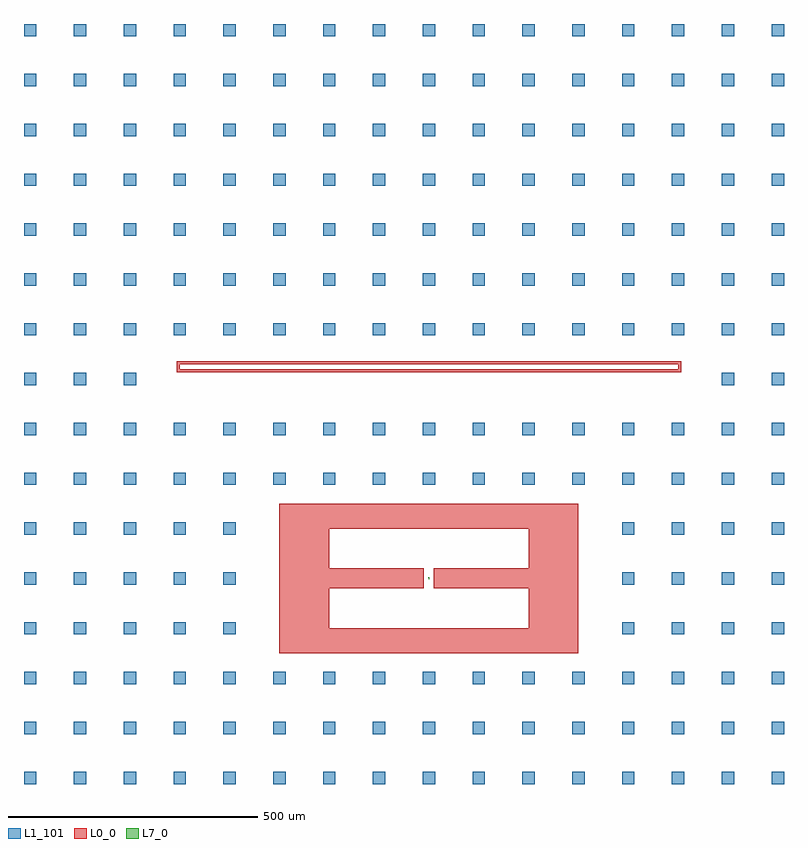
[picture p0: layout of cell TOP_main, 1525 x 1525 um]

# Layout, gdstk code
from math import pi, radians
import gdstk
lib = gdstk.Library(unit=1e-6, precision=1e-09)
def P(c, l, *ps):  # polygons
    for p in ps: c.add(gdstk.Polygon(p, *l))
L0_0 = (0, 0)
L1_101 = (1, 101)
L7_0 = (7, 0)

oq_jj = lib.new_cell('OQ_JJ')
P(oq_jj, L7_0, [(-2,-1),(2,-1),(2,1),(1,1),(1,0),(-2,0)])

all_jj_imported_1 = lib.new_cell('all_jj_imported_1')
all_jj_imported_1.add(gdstk.Reference(oq_jj, (0,-400), rotation=pi/2))

top_main_1_cheese_diff = lib.new_cell('TOP_main_1_Cheese_diff')
P(top_main_1_cheese_diff, L1_101, [(-787.5,-812.5),(-787.5,-787.5),(-812.5,-787.5),(-812.5,-812.5),(-787.5,-812.5)],
  [(-787.5,-712.5),(-787.5,-687.5),(-812.5,-687.5),(-812.5,-712.5),(-787.5,-712.5)],
  [(-787.5,-612.5),(-787.5,-587.5),(-812.5,-587.5),(-812.5,-612.5),(-787.5,-612.5)],
  [(-787.5,-512.5),(-787.5,-487.5),(-812.5,-487.5),(-812.5,-512.5),(-787.5,-512.5)],
  [(-787.5,-412.5),(-787.5,-387.5),(-812.5,-387.5),(-812.5,-412.5),(-787.5,-412.5)],
  [(-787.5,-312.5),(-787.5,-287.5),(-812.5,-287.5),(-812.5,-312.5),(-787.5,-312.5)],
  [(-787.5,-212.5),(-787.5,-187.5),(-812.5,-187.5),(-812.5,-212.5),(-787.5,-212.5)],
  [(-787.5,-112.5),(-787.5,-87.5),(-812.5,-87.5),(-812.5,-112.5),(-787.5,-112.5)],
  [(-787.5,-12.5),(-787.5,12.5),(-812.5,12.5),(-812.5,-12.5),(-787.5,-12.5)],
  [(-787.5,87.5),(-787.5,112.5),(-812.5,112.5),(-812.5,87.5),(-787.5,87.5)],
  [(-787.5,187.5),(-787.5,212.5),(-812.5,212.5),(-812.5,187.5),(-787.5,187.5)],
  [(-787.5,287.5),(-787.5,312.5),(-812.5,312.5),(-812.5,287.5),(-787.5,287.5)],
  [(-787.5,387.5),(-787.5,412.5),(-812.5,412.5),(-812.5,387.5),(-787.5,387.5)],
  [(-787.5,487.5),(-787.5,512.5),(-812.5,512.5),(-812.5,487.5),(-787.5,487.5)],
  [(-787.5,587.5),(-787.5,612.5),(-812.5,612.5),(-812.5,587.5),(-787.5,587.5)],
  [(-787.5,687.5),(-787.5,712.5),(-812.5,712.5),(-812.5,687.5),(-787.5,687.5)],
  [(-687.5,-812.5),(-687.5,-787.5),(-712.5,-787.5),(-712.5,-812.5),(-687.5,-812.5)],
  [(-687.5,-712.5),(-687.5,-687.5),(-712.5,-687.5),(-712.5,-712.5),(-687.5,-712.5)],
  [(-687.5,-612.5),(-687.5,-587.5),(-712.5,-587.5),(-712.5,-612.5),(-687.5,-612.5)],
  [(-687.5,-512.5),(-687.5,-487.5),(-712.5,-487.5),(-712.5,-512.5),(-687.5,-512.5)],
  [(-687.5,-412.5),(-687.5,-387.5),(-712.5,-387.5),(-712.5,-412.5),(-687.5,-412.5)],
  [(-687.5,-312.5),(-687.5,-287.5),(-712.5,-287.5),(-712.5,-312.5),(-687.5,-312.5)],
  [(-687.5,-212.5),(-687.5,-187.5),(-712.5,-187.5),(-712.5,-212.5),(-687.5,-212.5)],
  [(-687.5,-112.5),(-687.5,-87.5),(-712.5,-87.5),(-712.5,-112.5),(-687.5,-112.5)],
  [(-687.5,-12.5),(-687.5,12.5),(-712.5,12.5),(-712.5,-12.5),(-687.5,-12.5)],
  [(-687.5,87.5),(-687.5,112.5),(-712.5,112.5),(-712.5,87.5),(-687.5,87.5)],
  [(-687.5,187.5),(-687.5,212.5),(-712.5,212.5),(-712.5,187.5),(-687.5,187.5)],
  [(-687.5,287.5),(-687.5,312.5),(-712.5,312.5),(-712.5,287.5),(-687.5,287.5)],
  [(-687.5,387.5),(-687.5,412.5),(-712.5,412.5),(-712.5,387.5),(-687.5,387.5)],
  [(-687.5,487.5),(-687.5,512.5),(-712.5,512.5),(-712.5,487.5),(-687.5,487.5)],
  [(-687.5,587.5),(-687.5,612.5),(-712.5,612.5),(-712.5,587.5),(-687.5,587.5)],
  [(-687.5,687.5),(-687.5,712.5),(-712.5,712.5),(-712.5,687.5),(-687.5,687.5)],
  [(-587.5,-812.5),(-587.5,-787.5),(-612.5,-787.5),(-612.5,-812.5),(-587.5,-812.5)],
  [(-587.5,-712.5),(-587.5,-687.5),(-612.5,-687.5),(-612.5,-712.5),(-587.5,-712.5)],
  [(-587.5,-612.5),(-587.5,-587.5),(-612.5,-587.5),(-612.5,-612.5),(-587.5,-612.5)],
  [(-587.5,-512.5),(-587.5,-487.5),(-612.5,-487.5),(-612.5,-512.5),(-587.5,-512.5)],
  [(-587.5,-412.5),(-587.5,-387.5),(-612.5,-387.5),(-612.5,-412.5),(-587.5,-412.5)],
  [(-587.5,-312.5),(-587.5,-287.5),(-612.5,-287.5),(-612.5,-312.5),(-587.5,-312.5)],
  [(-587.5,-212.5),(-587.5,-187.5),(-612.5,-187.5),(-612.5,-212.5),(-587.5,-212.5)],
  [(-587.5,-112.5),(-587.5,-87.5),(-612.5,-87.5),(-612.5,-112.5),(-587.5,-112.5)],
  [(-587.5,-12.5),(-587.5,12.5),(-612.5,12.5),(-612.5,-12.5),(-587.5,-12.5)],
  [(-587.5,87.5),(-587.5,112.5),(-612.5,112.5),(-612.5,87.5),(-587.5,87.5)],
  [(-587.5,187.5),(-587.5,212.5),(-612.5,212.5),(-612.5,187.5),(-587.5,187.5)],
  [(-587.5,287.5),(-587.5,312.5),(-612.5,312.5),(-612.5,287.5),(-587.5,287.5)],
  [(-587.5,387.5),(-587.5,412.5),(-612.5,412.5),(-612.5,387.5),(-587.5,387.5)],
  [(-587.5,487.5),(-587.5,512.5),(-612.5,512.5),(-612.5,487.5),(-587.5,487.5)],
  [(-587.5,587.5),(-587.5,612.5),(-612.5,612.5),(-612.5,587.5),(-587.5,587.5)],
  [(-587.5,687.5),(-587.5,712.5),(-612.5,712.5),(-612.5,687.5),(-587.5,687.5)],
  [(-487.5,-812.5),(-487.5,-787.5),(-512.5,-787.5),(-512.5,-812.5),(-487.5,-812.5)],
  [(-487.5,-712.5),(-487.5,-687.5),(-512.5,-687.5),(-512.5,-712.5),(-487.5,-712.5)],
  [(-487.5,-612.5),(-487.5,-587.5),(-512.5,-587.5),(-512.5,-612.5),(-487.5,-612.5)],
  [(-487.5,-512.5),(-487.5,-487.5),(-512.5,-487.5),(-512.5,-512.5),(-487.5,-512.5)],
  [(-487.5,-412.5),(-487.5,-387.5),(-512.5,-387.5),(-512.5,-412.5),(-487.5,-412.5)],
  [(-487.5,-312.5),(-487.5,-287.5),(-512.5,-287.5),(-512.5,-312.5),(-487.5,-312.5)],
  [(-487.5,-212.5),(-487.5,-187.5),(-512.5,-187.5),(-512.5,-212.5),(-487.5,-212.5)],
  [(-487.5,-112.5),(-487.5,-87.5),(-512.5,-87.5),(-512.5,-112.5),(-487.5,-112.5)],
  [(-487.5,87.5),(-487.5,112.5),(-512.5,112.5),(-512.5,87.5),(-487.5,87.5)],
  [(-487.5,187.5),(-487.5,212.5),(-512.5,212.5),(-512.5,187.5),(-487.5,187.5)],
  [(-487.5,287.5),(-487.5,312.5),(-512.5,312.5),(-512.5,287.5),(-487.5,287.5)],
  [(-487.5,387.5),(-487.5,412.5),(-512.5,412.5),(-512.5,387.5),(-487.5,387.5)],
  [(-487.5,487.5),(-487.5,512.5),(-512.5,512.5),(-512.5,487.5),(-487.5,487.5)],
  [(-487.5,587.5),(-487.5,612.5),(-512.5,612.5),(-512.5,587.5),(-487.5,587.5)],
  [(-487.5,687.5),(-487.5,712.5),(-512.5,712.5),(-512.5,687.5),(-487.5,687.5)],
  [(-387.5,-812.5),(-387.5,-787.5),(-412.5,-787.5),(-412.5,-812.5),(-387.5,-812.5)],
  [(-387.5,-712.5),(-387.5,-687.5),(-412.5,-687.5),(-412.5,-712.5),(-387.5,-712.5)],
  [(-387.5,-612.5),(-387.5,-587.5),(-412.5,-587.5),(-412.5,-612.5),(-387.5,-612.5)],
  [(-387.5,-512.5),(-387.5,-487.5),(-412.5,-487.5),(-412.5,-512.5),(-387.5,-512.5)],
  [(-387.5,-412.5),(-387.5,-387.5),(-412.5,-387.5),(-412.5,-412.5),(-387.5,-412.5)],
  [(-387.5,-312.5),(-387.5,-287.5),(-412.5,-287.5),(-412.5,-312.5),(-387.5,-312.5)],
  [(-387.5,-212.5),(-387.5,-187.5),(-412.5,-187.5),(-412.5,-212.5),(-387.5,-212.5)],
  [(-387.5,-112.5),(-387.5,-87.5),(-412.5,-87.5),(-412.5,-112.5),(-387.5,-112.5)],
  [(-387.5,87.5),(-387.5,112.5),(-412.5,112.5),(-412.5,87.5),(-387.5,87.5)],
  [(-387.5,187.5),(-387.5,212.5),(-412.5,212.5),(-412.5,187.5),(-387.5,187.5)],
  [(-387.5,287.5),(-387.5,312.5),(-412.5,312.5),(-412.5,287.5),(-387.5,287.5)],
  [(-387.5,387.5),(-387.5,412.5),(-412.5,412.5),(-412.5,387.5),(-387.5,387.5)],
  [(-387.5,487.5),(-387.5,512.5),(-412.5,512.5),(-412.5,487.5),(-387.5,487.5)],
  [(-387.5,587.5),(-387.5,612.5),(-412.5,612.5),(-412.5,587.5),(-387.5,587.5)],
  [(-387.5,687.5),(-387.5,712.5),(-412.5,712.5),(-412.5,687.5),(-387.5,687.5)],
  [(-287.5,-812.5),(-287.5,-787.5),(-312.5,-787.5),(-312.5,-812.5),(-287.5,-812.5)],
  [(-287.5,-712.5),(-287.5,-687.5),(-312.5,-687.5),(-312.5,-712.5),(-287.5,-712.5)],
  [(-287.5,-612.5),(-287.5,-587.5),(-312.5,-587.5),(-312.5,-612.5),(-287.5,-612.5)],
  [(-287.5,-212.5),(-287.5,-187.5),(-312.5,-187.5),(-312.5,-212.5),(-287.5,-212.5)],
  [(-287.5,-112.5),(-287.5,-87.5),(-312.5,-87.5),(-312.5,-112.5),(-287.5,-112.5)],
  [(-287.5,87.5),(-287.5,112.5),(-312.5,112.5),(-312.5,87.5),(-287.5,87.5)],
  [(-287.5,187.5),(-287.5,212.5),(-312.5,212.5),(-312.5,187.5),(-287.5,187.5)],
  [(-287.5,287.5),(-287.5,312.5),(-312.5,312.5),(-312.5,287.5),(-287.5,287.5)],
  [(-287.5,387.5),(-287.5,412.5),(-312.5,412.5),(-312.5,387.5),(-287.5,387.5)],
  [(-287.5,487.5),(-287.5,512.5),(-312.5,512.5),(-312.5,487.5),(-287.5,487.5)],
  [(-287.5,587.5),(-287.5,612.5),(-312.5,612.5),(-312.5,587.5),(-287.5,587.5)],
  [(-287.5,687.5),(-287.5,712.5),(-312.5,712.5),(-312.5,687.5),(-287.5,687.5)],
  [(-187.5,-812.5),(-187.5,-787.5),(-212.5,-787.5),(-212.5,-812.5),(-187.5,-812.5)],
  [(-187.5,-712.5),(-187.5,-687.5),(-212.5,-687.5),(-212.5,-712.5),(-187.5,-712.5)],
  [(-187.5,-612.5),(-187.5,-587.5),(-212.5,-587.5),(-212.5,-612.5),(-187.5,-612.5)],
  [(-187.5,-212.5),(-187.5,-187.5),(-212.5,-187.5),(-212.5,-212.5),(-187.5,-212.5)],
  [(-187.5,-112.5),(-187.5,-87.5),(-212.5,-87.5),(-212.5,-112.5),(-187.5,-112.5)],
  [(-187.5,87.5),(-187.5,112.5),(-212.5,112.5),(-212.5,87.5),(-187.5,87.5)],
  [(-187.5,187.5),(-187.5,212.5),(-212.5,212.5),(-212.5,187.5),(-187.5,187.5)],
  [(-187.5,287.5),(-187.5,312.5),(-212.5,312.5),(-212.5,287.5),(-187.5,287.5)],
  [(-187.5,387.5),(-187.5,412.5),(-212.5,412.5),(-212.5,387.5),(-187.5,387.5)],
  [(-187.5,487.5),(-187.5,512.5),(-212.5,512.5),(-212.5,487.5),(-187.5,487.5)],
  [(-187.5,587.5),(-187.5,612.5),(-212.5,612.5),(-212.5,587.5),(-187.5,587.5)],
  [(-187.5,687.5),(-187.5,712.5),(-212.5,712.5),(-212.5,687.5),(-187.5,687.5)],
  [(-87.5,-812.5),(-87.5,-787.5),(-112.5,-787.5),(-112.5,-812.5),(-87.5,-812.5)],
  [(-87.5,-712.5),(-87.5,-687.5),(-112.5,-687.5),(-112.5,-712.5),(-87.5,-712.5)],
  [(-87.5,-612.5),(-87.5,-587.5),(-112.5,-587.5),(-112.5,-612.5),(-87.5,-612.5)],
  [(-87.5,-212.5),(-87.5,-187.5),(-112.5,-187.5),(-112.5,-212.5),(-87.5,-212.5)],
  [(-87.5,-112.5),(-87.5,-87.5),(-112.5,-87.5),(-112.5,-112.5),(-87.5,-112.5)],
  [(-87.5,87.5),(-87.5,112.5),(-112.5,112.5),(-112.5,87.5),(-87.5,87.5)],
  [(-87.5,187.5),(-87.5,212.5),(-112.5,212.5),(-112.5,187.5),(-87.5,187.5)],
  [(-87.5,287.5),(-87.5,312.5),(-112.5,312.5),(-112.5,287.5),(-87.5,287.5)],
  [(-87.5,387.5),(-87.5,412.5),(-112.5,412.5),(-112.5,387.5),(-87.5,387.5)],
  [(-87.5,487.5),(-87.5,512.5),(-112.5,512.5),(-112.5,487.5),(-87.5,487.5)],
  [(-87.5,587.5),(-87.5,612.5),(-112.5,612.5),(-112.5,587.5),(-87.5,587.5)],
  [(-87.5,687.5),(-87.5,712.5),(-112.5,712.5),(-112.5,687.5),(-87.5,687.5)],
  [(12.5,-812.5),(12.5,-787.5),(-12.5,-787.5),(-12.5,-812.5),(12.5,-812.5)],
  [(12.5,-712.5),(12.5,-687.5),(-12.5,-687.5),(-12.5,-712.5),(12.5,-712.5)],
  [(12.5,-612.5),(12.5,-587.5),(-12.5,-587.5),(-12.5,-612.5),(12.5,-612.5)],
  [(12.5,-212.5),(12.5,-187.5),(-12.5,-187.5),(-12.5,-212.5),(12.5,-212.5)],
  [(12.5,-112.5),(12.5,-87.5),(-12.5,-87.5),(-12.5,-112.5),(12.5,-112.5)],
  [(12.5,87.5),(12.5,112.5),(-12.5,112.5),(-12.5,87.5),(12.5,87.5)],
  [(12.5,187.5),(12.5,212.5),(-12.5,212.5),(-12.5,187.5),(12.5,187.5)],
  [(12.5,287.5),(12.5,312.5),(-12.5,312.5),(-12.5,287.5),(12.5,287.5)],
  [(12.5,387.5),(12.5,412.5),(-12.5,412.5),(-12.5,387.5),(12.5,387.5)],
  [(12.5,487.5),(12.5,512.5),(-12.5,512.5),(-12.5,487.5),(12.5,487.5)],
  [(12.5,587.5),(12.5,612.5),(-12.5,612.5),(-12.5,587.5),(12.5,587.5)],
  [(12.5,687.5),(12.5,712.5),(-12.5,712.5),(-12.5,687.5),(12.5,687.5)],
  [(112.5,-812.5),(112.5,-787.5),(87.5,-787.5),(87.5,-812.5),(112.5,-812.5)],
  [(112.5,-712.5),(112.5,-687.5),(87.5,-687.5),(87.5,-712.5),(112.5,-712.5)],
  [(112.5,-612.5),(112.5,-587.5),(87.5,-587.5),(87.5,-612.5),(112.5,-612.5)],
  [(112.5,-212.5),(112.5,-187.5),(87.5,-187.5),(87.5,-212.5),(112.5,-212.5)],
  [(112.5,-112.5),(112.5,-87.5),(87.5,-87.5),(87.5,-112.5),(112.5,-112.5)],
  [(112.5,87.5),(112.5,112.5),(87.5,112.5),(87.5,87.5),(112.5,87.5)],
  [(112.5,187.5),(112.5,212.5),(87.5,212.5),(87.5,187.5),(112.5,187.5)],
  [(112.5,287.5),(112.5,312.5),(87.5,312.5),(87.5,287.5),(112.5,287.5)],
  [(112.5,387.5),(112.5,412.5),(87.5,412.5),(87.5,387.5),(112.5,387.5)],
  [(112.5,487.5),(112.5,512.5),(87.5,512.5),(87.5,487.5),(112.5,487.5)],
  [(112.5,587.5),(112.5,612.5),(87.5,612.5),(87.5,587.5),(112.5,587.5)],
  [(112.5,687.5),(112.5,712.5),(87.5,712.5),(87.5,687.5),(112.5,687.5)],
  [(212.5,-812.5),(212.5,-787.5),(187.5,-787.5),(187.5,-812.5),(212.5,-812.5)],
  [(212.5,-712.5),(212.5,-687.5),(187.5,-687.5),(187.5,-712.5),(212.5,-712.5)],
  [(212.5,-612.5),(212.5,-587.5),(187.5,-587.5),(187.5,-612.5),(212.5,-612.5)],
  [(212.5,-212.5),(212.5,-187.5),(187.5,-187.5),(187.5,-212.5),(212.5,-212.5)],
  [(212.5,-112.5),(212.5,-87.5),(187.5,-87.5),(187.5,-112.5),(212.5,-112.5)],
  [(212.5,87.5),(212.5,112.5),(187.5,112.5),(187.5,87.5),(212.5,87.5)],
  [(212.5,187.5),(212.5,212.5),(187.5,212.5),(187.5,187.5),(212.5,187.5)],
  [(212.5,287.5),(212.5,312.5),(187.5,312.5),(187.5,287.5),(212.5,287.5)],
  [(212.5,387.5),(212.5,412.5),(187.5,412.5),(187.5,387.5),(212.5,387.5)],
  [(212.5,487.5),(212.5,512.5),(187.5,512.5),(187.5,487.5),(212.5,487.5)],
  [(212.5,587.5),(212.5,612.5),(187.5,612.5),(187.5,587.5),(212.5,587.5)],
  [(212.5,687.5),(212.5,712.5),(187.5,712.5),(187.5,687.5),(212.5,687.5)],
  [(312.5,-812.5),(312.5,-787.5),(287.5,-787.5),(287.5,-812.5),(312.5,-812.5)],
  [(312.5,-712.5),(312.5,-687.5),(287.5,-687.5),(287.5,-712.5),(312.5,-712.5)],
  [(312.5,-612.5),(312.5,-587.5),(287.5,-587.5),(287.5,-612.5),(312.5,-612.5)],
  [(312.5,-212.5),(312.5,-187.5),(287.5,-187.5),(287.5,-212.5),(312.5,-212.5)],
  [(312.5,-112.5),(312.5,-87.5),(287.5,-87.5),(287.5,-112.5),(312.5,-112.5)],
  [(312.5,87.5),(312.5,112.5),(287.5,112.5),(287.5,87.5),(312.5,87.5)],
  [(312.5,187.5),(312.5,212.5),(287.5,212.5),(287.5,187.5),(312.5,187.5)],
  [(312.5,287.5),(312.5,312.5),(287.5,312.5),(287.5,287.5),(312.5,287.5)],
  [(312.5,387.5),(312.5,412.5),(287.5,412.5),(287.5,387.5),(312.5,387.5)],
  [(312.5,487.5),(312.5,512.5),(287.5,512.5),(287.5,487.5),(312.5,487.5)],
  [(312.5,587.5),(312.5,612.5),(287.5,612.5),(287.5,587.5),(312.5,587.5)],
  [(312.5,687.5),(312.5,712.5),(287.5,712.5),(287.5,687.5),(312.5,687.5)],
  [(412.5,-812.5),(412.5,-787.5),(387.5,-787.5),(387.5,-812.5),(412.5,-812.5)],
  [(412.5,-712.5),(412.5,-687.5),(387.5,-687.5),(387.5,-712.5),(412.5,-712.5)],
  [(412.5,-612.5),(412.5,-587.5),(387.5,-587.5),(387.5,-612.5),(412.5,-612.5)],
  [(412.5,-512.5),(412.5,-487.5),(387.5,-487.5),(387.5,-512.5),(412.5,-512.5)],
  [(412.5,-412.5),(412.5,-387.5),(387.5,-387.5),(387.5,-412.5),(412.5,-412.5)],
  [(412.5,-312.5),(412.5,-287.5),(387.5,-287.5),(387.5,-312.5),(412.5,-312.5)],
  [(412.5,-212.5),(412.5,-187.5),(387.5,-187.5),(387.5,-212.5),(412.5,-212.5)],
  [(412.5,-112.5),(412.5,-87.5),(387.5,-87.5),(387.5,-112.5),(412.5,-112.5)],
  [(412.5,87.5),(412.5,112.5),(387.5,112.5),(387.5,87.5),(412.5,87.5)],
  [(412.5,187.5),(412.5,212.5),(387.5,212.5),(387.5,187.5),(412.5,187.5)],
  [(412.5,287.5),(412.5,312.5),(387.5,312.5),(387.5,287.5),(412.5,287.5)],
  [(412.5,387.5),(412.5,412.5),(387.5,412.5),(387.5,387.5),(412.5,387.5)],
  [(412.5,487.5),(412.5,512.5),(387.5,512.5),(387.5,487.5),(412.5,487.5)],
  [(412.5,587.5),(412.5,612.5),(387.5,612.5),(387.5,587.5),(412.5,587.5)],
  [(412.5,687.5),(412.5,712.5),(387.5,712.5),(387.5,687.5),(412.5,687.5)],
  [(512.5,-812.5),(512.5,-787.5),(487.5,-787.5),(487.5,-812.5),(512.5,-812.5)],
  [(512.5,-712.5),(512.5,-687.5),(487.5,-687.5),(487.5,-712.5),(512.5,-712.5)],
  [(512.5,-612.5),(512.5,-587.5),(487.5,-587.5),(487.5,-612.5),(512.5,-612.5)],
  [(512.5,-512.5),(512.5,-487.5),(487.5,-487.5),(487.5,-512.5),(512.5,-512.5)],
  [(512.5,-412.5),(512.5,-387.5),(487.5,-387.5),(487.5,-412.5),(512.5,-412.5)],
  [(512.5,-312.5),(512.5,-287.5),(487.5,-287.5),(487.5,-312.5),(512.5,-312.5)],
  [(512.5,-212.5),(512.5,-187.5),(487.5,-187.5),(487.5,-212.5),(512.5,-212.5)],
  [(512.5,-112.5),(512.5,-87.5),(487.5,-87.5),(487.5,-112.5),(512.5,-112.5)],
  [(512.5,87.5),(512.5,112.5),(487.5,112.5),(487.5,87.5),(512.5,87.5)],
  [(512.5,187.5),(512.5,212.5),(487.5,212.5),(487.5,187.5),(512.5,187.5)],
  [(512.5,287.5),(512.5,312.5),(487.5,312.5),(487.5,287.5),(512.5,287.5)],
  [(512.5,387.5),(512.5,412.5),(487.5,412.5),(487.5,387.5),(512.5,387.5)],
  [(512.5,487.5),(512.5,512.5),(487.5,512.5),(487.5,487.5),(512.5,487.5)],
  [(512.5,587.5),(512.5,612.5),(487.5,612.5),(487.5,587.5),(512.5,587.5)],
  [(512.5,687.5),(512.5,712.5),(487.5,712.5),(487.5,687.5),(512.5,687.5)],
  [(612.5,-812.5),(612.5,-787.5),(587.5,-787.5),(587.5,-812.5),(612.5,-812.5)],
  [(612.5,-712.5),(612.5,-687.5),(587.5,-687.5),(587.5,-712.5),(612.5,-712.5)],
  [(612.5,-612.5),(612.5,-587.5),(587.5,-587.5),(587.5,-612.5),(612.5,-612.5)],
  [(612.5,-512.5),(612.5,-487.5),(587.5,-487.5),(587.5,-512.5),(612.5,-512.5)],
  [(612.5,-412.5),(612.5,-387.5),(587.5,-387.5),(587.5,-412.5),(612.5,-412.5)],
  [(612.5,-312.5),(612.5,-287.5),(587.5,-287.5),(587.5,-312.5),(612.5,-312.5)],
  [(612.5,-212.5),(612.5,-187.5),(587.5,-187.5),(587.5,-212.5),(612.5,-212.5)],
  [(612.5,-112.5),(612.5,-87.5),(587.5,-87.5),(587.5,-112.5),(612.5,-112.5)],
  [(612.5,-12.5),(612.5,12.5),(587.5,12.5),(587.5,-12.5),(612.5,-12.5)],
  [(612.5,87.5),(612.5,112.5),(587.5,112.5),(587.5,87.5),(612.5,87.5)],
  [(612.5,187.5),(612.5,212.5),(587.5,212.5),(587.5,187.5),(612.5,187.5)],
  [(612.5,287.5),(612.5,312.5),(587.5,312.5),(587.5,287.5),(612.5,287.5)],
  [(612.5,387.5),(612.5,412.5),(587.5,412.5),(587.5,387.5),(612.5,387.5)],
  [(612.5,487.5),(612.5,512.5),(587.5,512.5),(587.5,487.5),(612.5,487.5)],
  [(612.5,587.5),(612.5,612.5),(587.5,612.5),(587.5,587.5),(612.5,587.5)],
  [(612.5,687.5),(612.5,712.5),(587.5,712.5),(587.5,687.5),(612.5,687.5)],
  [(712.5,-812.5),(712.5,-787.5),(687.5,-787.5),(687.5,-812.5),(712.5,-812.5)],
  [(712.5,-712.5),(712.5,-687.5),(687.5,-687.5),(687.5,-712.5),(712.5,-712.5)],
  [(712.5,-612.5),(712.5,-587.5),(687.5,-587.5),(687.5,-612.5),(712.5,-612.5)],
  [(712.5,-512.5),(712.5,-487.5),(687.5,-487.5),(687.5,-512.5),(712.5,-512.5)],
  [(712.5,-412.5),(712.5,-387.5),(687.5,-387.5),(687.5,-412.5),(712.5,-412.5)],
  [(712.5,-312.5),(712.5,-287.5),(687.5,-287.5),(687.5,-312.5),(712.5,-312.5)],
  [(712.5,-212.5),(712.5,-187.5),(687.5,-187.5),(687.5,-212.5),(712.5,-212.5)],
  [(712.5,-112.5),(712.5,-87.5),(687.5,-87.5),(687.5,-112.5),(712.5,-112.5)],
  [(712.5,-12.5),(712.5,12.5),(687.5,12.5),(687.5,-12.5),(712.5,-12.5)],
  [(712.5,87.5),(712.5,112.5),(687.5,112.5),(687.5,87.5),(712.5,87.5)],
  [(712.5,187.5),(712.5,212.5),(687.5,212.5),(687.5,187.5),(712.5,187.5)],
  [(712.5,287.5),(712.5,312.5),(687.5,312.5),(687.5,287.5),(712.5,287.5)],
  [(712.5,387.5),(712.5,412.5),(687.5,412.5),(687.5,387.5),(712.5,387.5)],
  [(712.5,487.5),(712.5,512.5),(687.5,512.5),(687.5,487.5),(712.5,487.5)],
  [(712.5,587.5),(712.5,612.5),(687.5,612.5),(687.5,587.5),(712.5,587.5)],
  [(712.5,687.5),(712.5,712.5),(687.5,712.5),(687.5,687.5),(712.5,687.5)])

top_main_1 = lib.new_cell('TOP_main_1')
P(top_main_1, L0_0, [(-506,19.5),(-500,19.5),(-500,29.5),(500,29.5),(500,19.5),(-500,19.5),(-506,19.5),(-506,13.5),(506,13.5),(506,35.5),(-506,35.5)],
  [(-300,-500),(-200,-500),(-200,-420),(-10,-420),(-10,-380),(-200,-380),(-200,-300),(200,-300),(200,-380),(10,-380),(10,-420),(200,-420),(200,-500),(-200,-500),(-300,-500),(-300,-550),(300,-550),(300,-250),(-300,-250)])
top_main_1.add(gdstk.Reference(all_jj_imported_1, (0,0)))
top_main_1.add(gdstk.Reference(top_main_1_cheese_diff, (0,0)))

top_main = lib.new_cell('TOP_main')
top_main.add(gdstk.Reference(top_main_1, (0,0)))
top_main.add(gdstk.Reference(top_main_1, (0,0)))
top_main.add(gdstk.Reference(top_main_1, (0,0)))

lib.write_gds('TOP_main.gds')
